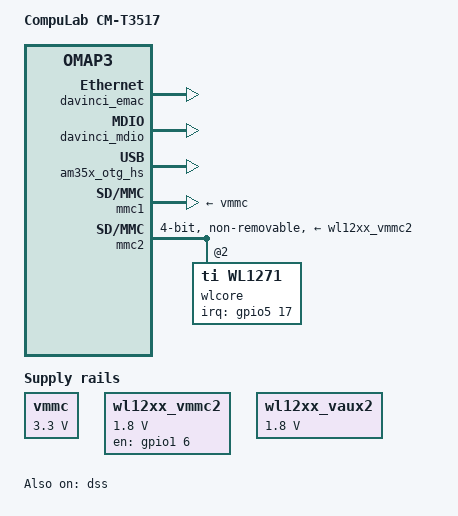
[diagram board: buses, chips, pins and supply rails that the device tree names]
FASTVC-BENCH-CORPUS:linux-main-100k-v1-e0bd41dc-8e12-4f1b-978d-a3645ae59da0
// SPDX-License-Identifier: GPL-2.0
/*
 * Support for CompuLab CM-T3517
 */
/dts-v1/;

#include "am3517.dtsi"
#include "omap3-cm-t3x.dtsi"

/ {
	model = "CompuLab CM-T3517";
	compatible = "compulab,omap3-cm-t3517", "ti,am3517", "ti,omap3";

	vmmc:  regulator-vmmc {
                compatible = "regulator-fixed";
                regulator-name = "vmmc";
/* bench 23471.1.0 c49cef38c5fd */
/* bench 23471.1.1 c127363f5c02 */
/* bench 23471.1.2 8a14a4298d36 */
/* bench 23471.1.3 f03ece606d18 */
/* bench 23471.1.4 5110c7e0bc17 */
/* bench 23471.1.5 ffa068bb1c9d */
/* bench 23471.1.6 0ad43413aa7b */
/* bench 23471.1.7 31a0890558e3 */
/* bench 23471.1.8 b4b50a38a301 */
/* bench 23471.1.9 0a7e579ddaca */
/* bench 23471.1.10 6a3513bc0999 */
                regulator-min-microvolt = <3300000>;
                regulator-max-microvolt = <3300000>;
        };

	wl12xx_vmmc2: wl12xx_vmmc2 {
		compatible = "regulator-fixed";
		regulator-name = "vw1271";
		pinctrl-names = "default";
		pinctrl-0 = <
				&wl12xx_wkup_pins
				&wl12xx_core_pins
			    >;
		regulator-min-microvolt = <1800000>;
		regulator-max-microvolt = <1800000>;
		gpio = <&gpio1 6 GPIO_ACTIVE_HIGH >; /* gpio6 */
		startup-delay-us = <20000>;
		enable-active-high;
	};

	wl12xx_vaux2: wl12xx_vaux2 {
		compatible = "regulator-fixed";
		regulator-name = "vwl1271_vaux2";
		regulator-min-microvolt = <1800000>;
		regulator-max-microvolt = <1800000>;
	};
};

&omap3_pmx_wkup {

	wl12xx_wkup_pins: pinmux_wl12xx_wkup_pins {
		pinctrl-single,pins = <
			OMAP3_WKUP_IOPAD(0x2a0e, PIN_OUTPUT | MUX_MODE4)	/* sys_boot2.gpio_4 */
			OMAP3_WKUP_IOPAD(0x2a12, PIN_OUTPUT | MUX_MODE4)	/* sys_boot4.gpio_6 */
		>;
	};
};

&omap3_pmx_core {

	phy1_reset_pins: pinmux_hsusb1_phy_reset_pins {
		pinctrl-single,pins = <
			OMAP3_CORE1_IOPAD(0x2178, PIN_OUTPUT | MUX_MODE4)	/* uart2_tx.gpio_146 */
		>;
	};

	phy2_reset_pins: pinmux_hsusb2_phy_reset_pins {
		pinctrl-single,pins = <
			OMAP3_CORE1_IOPAD(0x217a, PIN_OUTPUT | MUX_MODE4)	/* uart2_rx.gpio_147 */
		>;
	};

	otg_drv_vbus: pinmux_otg_drv_vbus {
		pinctrl-single,pins = <
			OMAP3_CORE1_IOPAD(0x2210, PIN_INPUT_PULLDOWN | MUX_MODE0) /* rmii_50MHz_clk.usb0_drvvbus */
		>;
	};

	mmc2_pins: pinmux_mmc2_pins {
		pinctrl-single,pins = <
			OMAP3_CORE1_IOPAD(0x2158, PIN_INPUT_PULLUP | MUX_MODE0)	/* sdmmc2_clk.sdmmc2_clk */
			OMAP3_CORE1_IOPAD(0x215a, PIN_INPUT_PULLUP | MUX_MODE0)	/* sdmmc2_cmd.sdmmc2_cmd */
			OMAP3_CORE1_IOPAD(0x215c, PIN_INPUT_PULLUP | MUX_MODE0)	/* sdmmc2_dat0.sdmmc2_dat0 */
			OMAP3_CORE1_IOPAD(0x215e, PIN_INPUT_PULLUP | MUX_MODE0)	/* sdmmc2_dat1.sdmmc2_dat1 */
			OMAP3_CORE1_IOPAD(0x2160, PIN_INPUT_PULLUP | MUX_MODE0)	/* sdmmc2_dat2.sdmmc2_dat2 */
			OMAP3_CORE1_IOPAD(0x2162, PIN_INPUT_PULLUP | MUX_MODE0)	/* sdmmc2_dat3.sdmmc2_dat3 */
		>;
	};

	wl12xx_core_pins: pinmux_wl12xx_core_pins {
		pinctrl-single,pins = <
			OMAP3_CORE1_IOPAD(0x20b8, PIN_OUTPUT | MUX_MODE4)	/* gpmc_ncs5.gpio_56 */
			OMAP3_CORE1_IOPAD(0x2176, PIN_INPUT_PULLUP | MUX_MODE4)	/* uart2_rts.gpio_145 */
		>;
	};

	usb_hub_pins: pinmux_usb_hub_pins {
		pinctrl-single,pins = <
			OMAP3_CORE1_IOPAD(0x2184, PIN_OUTPUT | MUX_MODE4)	/* mcbsp4_clkx.gpio_152 - USB HUB RST */
		>;
	};
};

&hsusb1_phy {
	pinctrl-names = "default";
	pinctrl-0 = <&phy1_reset_pins>;
	reset-gpios = <&gpio5 18 GPIO_ACTIVE_LOW>;
};

&hsusb2_phy {
	pinctrl-names = "default";
	pinctrl-0 = <&phy2_reset_pins>;
	reset-gpios = <&gpio5 19 GPIO_ACTIVE_LOW>;
};

&davinci_emac {
	status = "okay";
};

&davinci_mdio {
	status = "okay";
};

&am35x_otg_hs {
	status = "okay";
	pinctrl-names = "default";
	pinctrl-0 = <&otg_drv_vbus>;
};

&mmc1 {
	vmmc-supply = <&vmmc>;
};

&mmc2 {
	pinctrl-names = "default";
	pinctrl-0 = <&mmc2_pins>;
	vmmc-supply = <&wl12xx_vmmc2>;
	vqmmc-supply = <&wl12xx_vaux2>;
	non-removable;
	bus-width = <4>;
	cap-power-off-card;

	#address-cells = <1>;
	#size-cells = <0>;
	wlcore: wlcore@2 {
		compatible = "ti,wl1271";
		reg = <2>;
		interrupt-parent = <&gpio5>;
		interrupts = <17 IRQ_TYPE_EDGE_RISING>; /* gpio 145 */
		ref-clock-frequency = <38400000>;
	};
};

&dss {
	status = "okay";

	pinctrl-names = "default";
	pinctrl-0 = <
		&dss_dpi_pins_common
		&dss_dpi_pins_cm_t35x
	>;
/* bench 281.0.0 3f131fed106d */
/* bench 281.0.1 3de42f8ffac8 */
/* bench 281.0.2 55fd21b4a03f */
/* bench 281.0.3 ac91ee5336bb */
/* bench 281.0.4 21c011a31342 */
/* bench 281.0.5 92e7268d4e23 */
/* bench 281.0.6 d95dafc9c6a8 */
/* bench 281.0.7 57772c567a3c */
/* bench 281.0.8 6816e7bbb4b9 */

